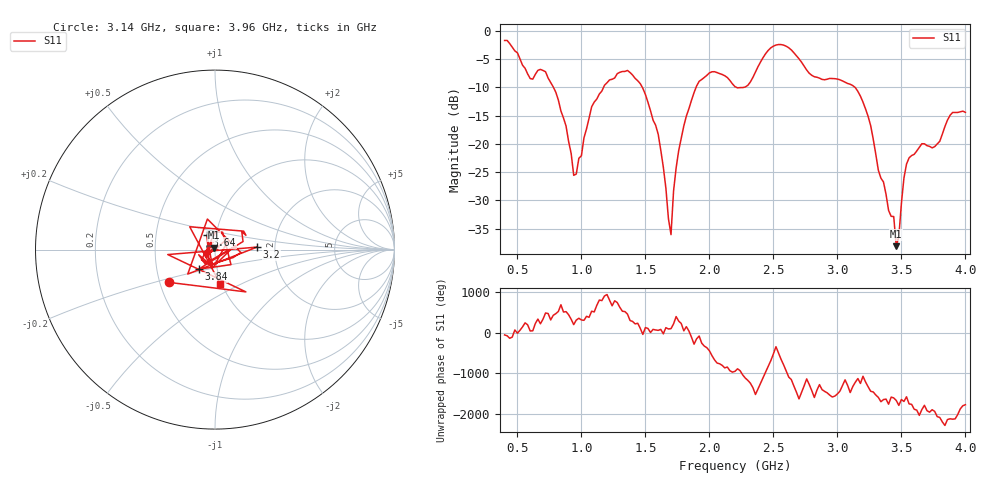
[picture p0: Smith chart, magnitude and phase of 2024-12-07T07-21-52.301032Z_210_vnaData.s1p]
!Created with skrf (http://scikit-rf.org).
# Hz S RI R 50.0
!freq ReS11 ImS11
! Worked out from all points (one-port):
!   181 points, 400 MHz to 4 GHz, reference 50 ohm
!   lowest |S11| = -38.1 dB at 3.46 GHz (marker M1), VSWR 1.03, Z = 49.3 + j0.993 ohm
!   |S11| at or under -10 dB: 782 MHz to 1.172 GHz (390.5 MHz wide, 40 % of centre); 1.476 GHz to 1.896 GHz (419.3 MHz wide, 24.9 % of centre); 3.139 GHz to end of sweep (the widest 3 of 4)
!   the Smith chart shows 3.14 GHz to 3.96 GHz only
!   S11 on the Smith chart (normalised r, x): 3.14 GHz: 0.56, -0.23; 3.2 GHz: 1.61, +0.05; 3.64 GHz: 0.90, +0.15; 3.84 GHz: 0.81, -0.18; 3.96 GHz: 0.98, -0.39
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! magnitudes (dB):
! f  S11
! 400 MHz  -1.7
! 600 MHz  -8.4
! 720 MHz  -7.2
! 860 MHz  -15.4
! 960 MHz  -25.3
! 1.08 GHz  -13.4
! 1.3 GHz  -7.3
! 1.46 GHz  -9.3
! 1.58 GHz  -16.7
! 1.7 GHz  -36.1
! 1.72 GHz  -28.3
! 1.76 GHz  -21.2
! 1.92 GHz  -8.9
! 2.2 GHz  -9.9
! 2.5 GHz  -2.7
! 2.66 GHz  -3.9
! 3.1 GHz  -9.4
! 3.14 GHz  -10.0
! 3.2 GHz  -12.6
! 3.44 GHz  -32.9
! 3.46 GHz  -38.1
! 3.48 GHz  -36.4
! 3.52 GHz  -26.0
! 3.56 GHz  -22.5
! 3.64 GHz  -20.6
! 3.84 GHz  -16.9
! 3.96 GHz  -14.3
! 4 GHz  -14.4
